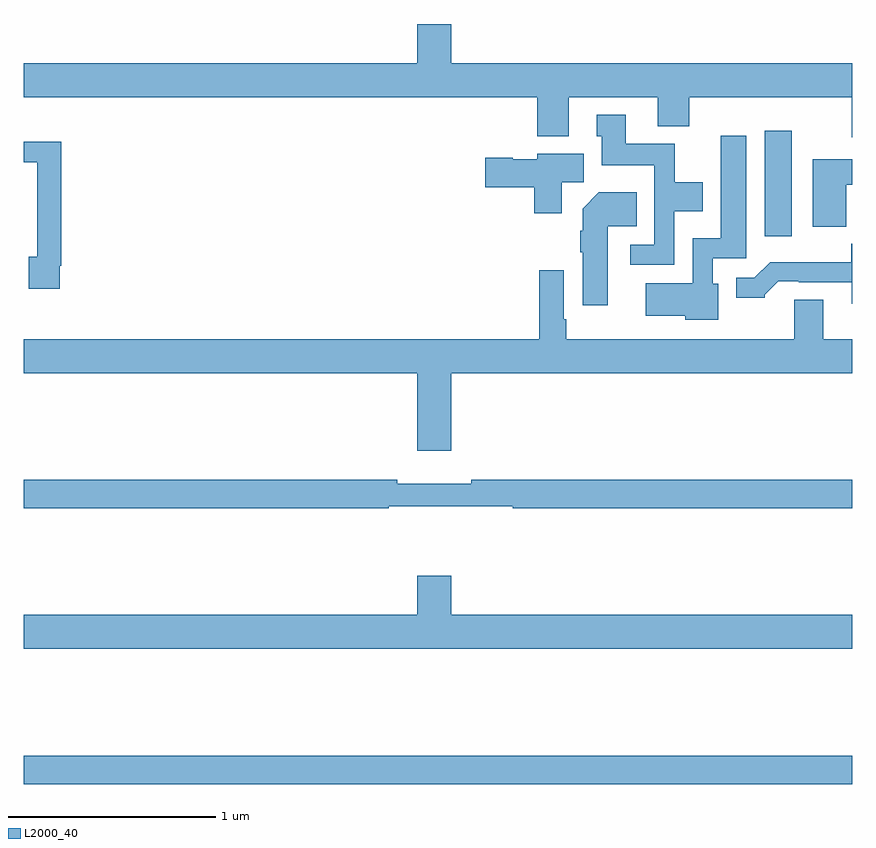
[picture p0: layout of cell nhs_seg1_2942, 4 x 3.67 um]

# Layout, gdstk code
import gdstk
lib = gdstk.Library(unit=1e-6, precision=1e-09)
def R(c, l, rs):  # rectangles x0, y0, x1, y1
    for r in rs: c.add(gdstk.rectangle(r[:2], r[2:], *l))
def P(c, l, *ps):  # polygons
    for p in ps: c.add(gdstk.Polygon(p, *l))
L2000_40 = (2000, 40)

nhs_seg1_2942 = lib.new_cell('nhs_seg1_2942')
R(nhs_seg1_2942, L2000_40, [(271,528.436,275,528.572), (274.577,531.081,274.708,531.589)])
P(nhs_seg1_2942, L2000_40, [(273.064,532.105),(272.9,532.105),(272.9,531.916),(271,531.916),(271,531.752),(273.479,531.752),(273.479,531.563),(273.631,531.563),(273.631,531.752),(274.061,531.752),(274.061,531.611),(274.214,531.611),(274.214,531.752),(274.997,531.752),(274.997,531.558),(275,531.558),(275,531.916),(273.064,531.916)],
  [(274.14,531.2),(274.279,531.2),(274.279,531.34),(274.143,531.34),(274.143,531.526),(273.907,531.526),(273.907,531.667),(273.767,531.667),(273.767,531.564),(273.791,531.564),(273.791,531.422),(274.044,531.422),(274.044,531.039),(273.927,531.039),(273.927,530.943),(274.14,530.943)],
  [(274.354,530.85),(274.326,530.85),(274.326,530.973),(274.489,530.973),(274.489,531.565),(274.364,531.565),(274.364,531.07),(274.23,531.07),(274.23,530.854),(274.002,530.854),(274.002,530.696),(274.194,530.696),(274.194,530.678),(274.354,530.678)],
  [(271.174,530.938),(271.181,530.938),(271.181,531.536),(271,531.536),(271,531.438),(271.065,531.438),(271.065,530.982),(271.025,530.982),(271.025,530.826),(271.174,530.826)],
  [(273.598,531.34),(273.703,531.34),(273.703,531.478),(273.48,531.478),(273.48,531.451),(273.36,531.451),(273.36,531.459),(273.228,531.459),(273.228,531.317),(273.464,531.317),(273.464,531.192),(273.598,531.192)],
  [(274.97,531.329),(275,531.329),(275,531.451),(274.808,531.451),(274.808,531.125),(274.97,531.125)],
  [(273.82,531.128),(273.959,531.128),(273.959,531.292),(273.776,531.292),(273.698,531.214),(273.698,531.107),(273.686,531.107),(273.686,531.004),(273.698,531.004),(273.698,530.748),(273.82,530.748)],
  [(275,531.043),(274.995,531.043),(274.995,530.956),(274.603,530.956),(274.527,530.88),(274.439,530.88),(274.439,530.783),(274.578,530.783),(274.578,530.798),(274.642,530.862),(274.741,530.862),(274.741,530.859),(274.997,530.859),(274.997,530.754),(275,530.754)],
  [(271,530.42),(272.9,530.42),(272.9,530.046),(273.064,530.046),(273.064,530.42),(275,530.42),(275,530.584),(274.861,530.584),(274.861,530.774),(274.721,530.774),(274.721,530.584),(273.619,530.584),(273.619,530.68),(273.606,530.68),(273.606,530.917),(273.49,530.917),(273.49,530.584),(271,530.584)],
  [(272.762,529.776),(273.362,529.776),(273.362,529.768),(275,529.768),(275,529.904),(273.16,529.904),(273.16,529.885),(272.804,529.885),(272.804,529.904),(271,529.904),(271,529.768),(272.762,529.768)],
  [(275,529.252),(273.064,529.252),(273.064,529.441),(272.9,529.441),(272.9,529.252),(271,529.252),(271,529.088),(275,529.088)])

lib.write_gds('nhs_seg1_2942.gds')
